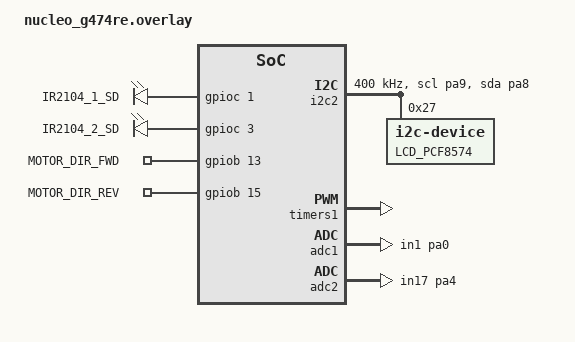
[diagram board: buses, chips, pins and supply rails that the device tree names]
/*
 * Motor Direction Reversal Under Load - board overlay (NUCLEO-G474RE)
 *
 * Pin map:
 *   IR2104 #1 PWM (pin2)            -> PC0  (TIM1_CH1)
 *   IR2104 #1 SD  (pin3, shutdown)  -> PC1  (plain GPIO, ACTIVE_LOW = enabled)
 *   IR2104 #2 PWM (pin2)            -> PC2  (TIM1_CH3)
 *   IR2104 #2 SD  (pin3, shutdown)  -> PC3  (plain GPIO, ACTIVE_LOW = enabled)
 *   Current sensor (ACS712)         -> PA0  (ADC1_IN1)
 *   Voltage sensor (0-25V module)   -> PA4  (ADC2_IN17)
 *   Motor direction FWD indicator   -> PB13 (plain GPIO, ACTIVE_HIGH)
 *   Motor direction REV indicator   -> PB15 (plain GPIO, ACTIVE_HIGH)
 *   LCD 16x2 (PCF8574 I2C backpack) -> I2C2 (PA9 SCL / PA8 SDA), addr 0x27
 *   User button                     -> onboard B1, board default "sw0" (PC13)
 *
 * NOTE: SD1/SD2 keep the same physical pins (PC1/PC3) that were previously
 * declared as extra TIM1 PWM channels; they are now plain digital outputs
 * since the IR2104 SHUTDOWN pin is a simple enable/disable line, not PWM.
 */

&i2c2 {
	status = "okay";
	pinctrl-0 = <&i2c2_scl_pa9 &i2c2_sda_pa8>;
	pinctrl-names = "default";
	clock-frequency = <I2C_BITRATE_FAST>;

	lcd_pcf8574: pcf8574@27 {
		compatible = "i2c-device";
		reg = <0x27>;
		label = "LCD_PCF8574";
	};
};

&timers1 {
	status = "okay";

	ir2104_pwm_tim1: pwm {
		status = "okay";
		pinctrl-0 = <&tim1_ch1_pc0 &tim1_ch3_pc2>;
		pinctrl-names = "default";
	};
};

&adc1 {
	status = "okay";
	pinctrl-0 = <&adc1_in1_pa0>;
	pinctrl-names = "default";
	st,adc-clock-source = <SYNC>;
	st,adc-prescaler = <4>;
};

&adc2 {
	status = "okay";
	pinctrl-0 = <&adc2_in17_pa4>;
	pinctrl-names = "default";
	st,adc-clock-source = <SYNC>;
	st,adc-prescaler = <4>;
};

&gpiob {
	status = "okay";
};

&gpioc {
	status = "okay";
};

/ {
	ir2104_shutdown_pins {
		compatible = "gpio-leds";

		sd1: sd1 {
			gpios = <&gpioc 1 GPIO_ACTIVE_HIGH>;
			label = "IR2104_1_SD";
		};

		sd2: sd2 {
			gpios = <&gpioc 3 GPIO_ACTIVE_HIGH>;
			label = "IR2104_2_SD";
		};
	};

	motor_dir_pins {
		compatible = "gpio-leds";

		dir_fwd: dir_fwd {
			gpios = <&gpiob 13 GPIO_ACTIVE_HIGH>;
			label = "MOTOR_DIR_FWD";
		};

		dir_rev: dir_rev {
			gpios = <&gpiob 15 GPIO_ACTIVE_HIGH>;
			label = "MOTOR_DIR_REV";
		};
	};

	aliases {
		ir2104pwm = &ir2104_pwm_tim1;
		sd1 = &sd1;
		sd2 = &sd2;
		dirfwd = &dir_fwd;
		dirrev = &dir_rev;
		lcddisplay = &lcd_pcf8574;
		currentsensor = &adc1;
		voltagesensor = &adc2;
	};
};
